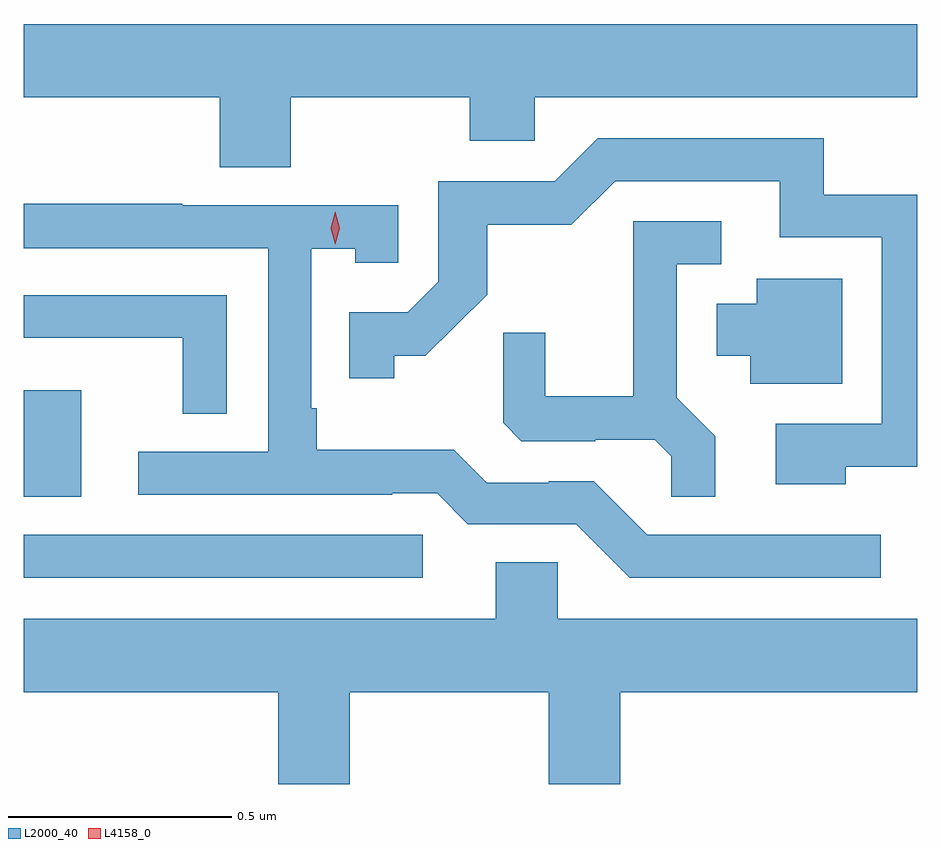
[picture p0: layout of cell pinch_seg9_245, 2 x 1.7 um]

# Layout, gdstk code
import gdstk
lib = gdstk.Library(unit=1e-6, precision=1e-09)
def R(c, l, rs):  # rectangles x0, y0, x1, y1
    for r in rs: c.add(gdstk.rectangle(r[:2], r[2:], *l))
def P(c, l, *ps):  # polygons
    for p in ps: c.add(gdstk.Polygon(p, *l))
L2000_40 = (2000, 40)
L4158_0 = (4158, 0)

pinch_seg9_245 = lib.new_cell('pinch_seg9_245')
R(pinch_seg9_245, L2000_40, [(413.225,1241.964,414.118,1242.06), (413.225,1242.145,413.353,1242.384)])
P(pinch_seg9_245, L2000_40, [(413.823,1243.04),(414.223,1243.04),(414.223,1242.942),(414.369,1242.942),(414.369,1243.04),(415.225,1243.04),(415.225,1243.204),(413.225,1243.204),(413.225,1243.04),(413.663,1243.04),(413.663,1242.883),(413.823,1242.883)],
  [(415.065,1242.213),(415.225,1242.213),(415.225,1242.822),(415.016,1242.822),(415.016,1242.948),(414.51,1242.948),(414.414,1242.852),(414.153,1242.852),(414.153,1242.627),(414.084,1242.558),(413.953,1242.558),(413.953,1242.411),(414.054,1242.411),(414.054,1242.461),(414.124,1242.461),(414.262,1242.598),(414.262,1242.754),(414.451,1242.754),(414.549,1242.852),(414.917,1242.852),(414.917,1242.726),(415.146,1242.726),(415.146,1242.309),(414.909,1242.309),(414.909,1242.173),(415.065,1242.173)],
  [(415.144,1242.06),(414.621,1242.06),(414.501,1242.18),(414.4,1242.18),(414.4,1242.177),(414.261,1242.177),(414.188,1242.25),(413.881,1242.25),(413.881,1242.343),(413.868,1242.343),(413.868,1242.701),(413.967,1242.701),(413.967,1242.669),(414.063,1242.669),(414.063,1242.798),(413.579,1242.798),(413.579,1242.801),(413.225,1242.801),(413.225,1242.702),(413.772,1242.702),(413.772,1242.246),(413.481,1242.246),(413.481,1242.15),(414.05,1242.15),(414.05,1242.153),(414.15,1242.153),(414.219,1242.084),(414.462,1242.084),(414.582,1241.964),(415.144,1241.964)],
  [(414.773,1242.281),(414.687,1242.367),(414.687,1242.666),(414.787,1242.666),(414.787,1242.762),(414.59,1242.762),(414.59,1242.37),(414.392,1242.37),(414.392,1242.513),(414.298,1242.513),(414.298,1242.311),(414.339,1242.27),(414.504,1242.27),(414.504,1242.273),(414.638,1242.273),(414.675,1242.236),(414.675,1242.145),(414.773,1242.145)],
  [(415.057,1242.634),(414.866,1242.634),(414.866,1242.577),(414.776,1242.577),(414.776,1242.461),(414.851,1242.461),(414.851,1242.398),(415.057,1242.398)],
  [(413.679,1242.597),(413.225,1242.597),(413.225,1242.501),(413.581,1242.501),(413.581,1242.331),(413.679,1242.331)],
  [(413.955,1241.708),(414.4,1241.708),(414.4,1241.502),(414.56,1241.502),(414.56,1241.708),(415.225,1241.708),(415.225,1241.872),(414.42,1241.872),(414.42,1241.999),(414.281,1241.999),(414.281,1241.872),(413.225,1241.872),(413.225,1241.708),(413.795,1241.708),(413.795,1241.502),(413.955,1241.502)])
P(pinch_seg9_245, L4158_0, [(413.922,1242.711),(413.922,1242.711),(413.912,1242.747),(413.922,1242.783),(413.922,1242.783),(413.922,1242.783),(413.932,1242.747),(413.922,1242.711)])

lib.write_gds('pinch_seg9_245.gds')
